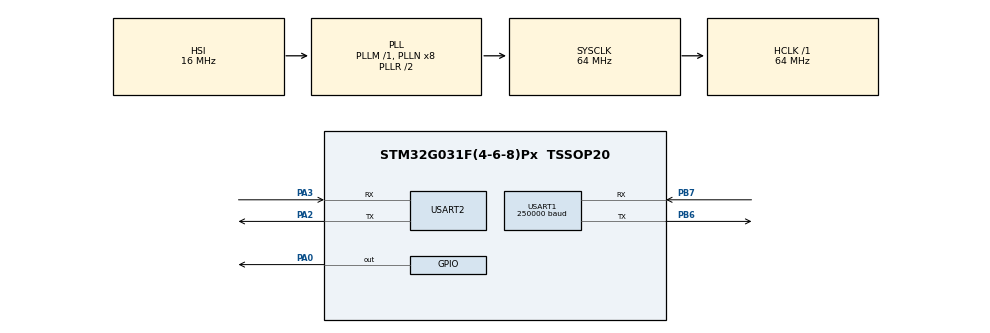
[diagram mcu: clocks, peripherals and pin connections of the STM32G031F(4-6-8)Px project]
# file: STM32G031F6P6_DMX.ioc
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Mcu.Family=STM32G0
Mcu.Name=STM32G031F(4-6-8)Px
Mcu.Package=TSSOP20
NVIC.USART1_IRQn=true\:0\:0\:false\:false\:true\:true\:true\:true
PA0.GPIO_Speed=GPIO_SPEED_FREQ_HIGH
PA0.Signal=GPIO_Output
PA13.Mode=Serial_Wire
PA13.Signal=SYS_SWDIO
PA14-BOOT0.Mode=Serial_Wire
PA14-BOOT0.Signal=SYS_SWCLK
PA14-BOOT0__PA15.StandardMode=true
PA2.Mode=Asynchronous
PA2.Signal=USART2_TX
PA3.Mode=Asynchronous
PA3.Signal=USART2_RX
PB0__PB1__PB2__PA8.StandardMode=true
PB3__PB4__PB5__PB6.StandardMode=true
PB6.GPIO_FM6=__NULL
PB6.Mode=Asynchronous
PB6.Signal=USART1_TX
PB7.GPIO_FM7=__NULL
PB7.Mode=Asynchronous
PB7.Signal=USART1_RX
PB7__PB8.StandardMode=true
PC14-OSC32_IN\ (PC14)__PB9.StandardMode=true
ProjectManager.HeapSize=0x200
ProjectManager.StackSize=0x400
ProjectManager.TargetToolchain=STM32CubeIDE
RCC.ADCFreq_Value=64000000
RCC.AHBFreq_Value=64000000
RCC.CortexFreq_Value=64000000
RCC.EXTERNAL_CLOCK_VALUE=12288000
RCC.HCLKFreq_Value=64000000
RCC.HSE_VALUE=8000000
RCC.HSI_VALUE=16000000
RCC.LSE_VALUE=32768
RCC.SYSCLKFreq_VALUE=64000000
RCC.SYSCLKSource=RCC_SYSCLKSOURCE_PLLCLK
RCC.VCOOutputFreq_Value=128000000
USART1.BaudRate=250000
USART1.Mode=MODE_RX
USART1.StopBits=STOPBITS_2
USART1.VirtualMode-Asynchronous=VM_ASYNC
USART2.VirtualMode-Asynchronous=VM_ASYNC
board=custom

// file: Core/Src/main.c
/* USER CODE BEGIN Header */
/**
  ******************************************************************************
  * @file           : main.c
  * @brief          : Main program body
  ******************************************************************************
  * @attention
  *
  * Copyright (c) 2022 STMicroelectronics.
  * All rights reserved.
  *
  * This software is licensed under terms that can be found in the LICENSE file
  * in the root directory of this software component.
  * If no LICENSE file comes with this software, it is provided AS-IS.
  *
  ******************************************************************************
  */
/* USER CODE END Header */
#include "main.h"

UART_HandleTypeDef huart1;
UART_HandleTypeDef huart2;

/* USER CODE BEGIN PV */
/* Buffer used for reception */
uint8_t DMX_Rx_buf[513]; // start from 1
uint8_t tim_update = 0;
uint8_t fDMX_buf_right = 0;
uint16_t pDMX_buf = 0;
uint32_t last_time=0;
/* USER CODE END PV */

void SystemClock_Config(void);
static void MX_GPIO_Init(void);
static void MX_USART1_UART_Init(void);
static void MX_USART2_UART_Init(void);

/* USER CODE BEGIN 0 */
#ifdef __GNUC__
  /* With GCC/RAISONANCE, small printf (option LD Linker->Libraries->Small printf
     set to 'Yes') calls __io_putchar() */
  #define PUTCHAR_PROTOTYPE int __io_putchar(int ch)
#else
  #define PUTCHAR_PROTOTYPE int fputc(int ch, FILE *f)
#endif /* __GNUC__ */
/**
  * @brief  Retargets the C library printf function to the USART.
  * @param  None
  * @retval None
  */
PUTCHAR_PROTOTYPE
{
  /* Place your implementation of fputc here */
  /* e.g. write a character to the EVAL_COM1 and Loop until the end of transmission */
  HAL_UART_Transmit(&huart2, (uint8_t *)&ch, 1, 0xFFFF);

  return ch;
}
/* USER CODE END 0 */

int main(void)
{

  /* MCU Configuration--------------------------------------------------------*/

  /* Reset of all peripherals, Initializes the Flash interface and the Systick. */
  HAL_Init();

  /* Configure the system clock */
  SystemClock_Config();

  /* Initialize all configured peripherals */
  MX_GPIO_Init();
  MX_USART1_UART_Init();
  MX_USART2_UART_Init();

  /* Infinite loop */
  /* USER CODE BEGIN WHILE */
  printf("Start\n");
  while (1)
  {
	  if(tim_update==SET){
		  printf("DMX: ");
		  for(int i=1;i<=512;i++){
			  printf("%d ",DMX_Rx_buf[i]);
		  }
		  printf("\n");
		  tim_update=RESET;
		  HAL_Delay(1000);
	  }
    /* USER CODE END WHILE */

  }
}

void SystemClock_Config(void)
{
  RCC_OscInitTypeDef RCC_OscInitStruct = {0};
  RCC_ClkInitTypeDef RCC_ClkInitStruct = {0};

  /** Configure the main internal regulator output voltage
  */
  HAL_PWREx_ControlVoltageScaling(PWR_REGULATOR_VOLTAGE_SCALE1);

  /** Initializes the RCC Oscillators according to the specified parameters
  * in the RCC_OscInitTypeDef structure.
  */
  RCC_OscInitStruct.OscillatorType = RCC_OSCILLATORTYPE_HSI;
  RCC_OscInitStruct.HSIState = RCC_HSI_ON;
  RCC_OscInitStruct.HSIDiv = RCC_HSI_DIV1;
  RCC_OscInitStruct.HSICalibrationValue = RCC_HSICALIBRATION_DEFAULT;
  RCC_OscInitStruct.PLL.PLLState = RCC_PLL_ON;
  RCC_OscInitStruct.PLL.PLLSource = RCC_PLLSOURCE_HSI;
  RCC_OscInitStruct.PLL.PLLM = RCC_PLLM_DIV1;
  RCC_OscInitStruct.PLL.PLLN = 8;
  RCC_OscInitStruct.PLL.PLLP = RCC_PLLP_DIV2;
  RCC_OscInitStruct.PLL.PLLQ = RCC_PLLQ_DIV2;
  RCC_OscInitStruct.PLL.PLLR = RCC_PLLR_DIV2;
  if (HAL_RCC_OscConfig(&RCC_OscInitStruct) != HAL_OK)
  {
    Error_Handler();
  }

  /** Initializes the CPU, AHB and APB buses clocks
  */
  RCC_ClkInitStruct.ClockType = RCC_CLOCKTYPE_HCLK|RCC_CLOCKTYPE_SYSCLK
                              |RCC_CLOCKTYPE_PCLK1;
  RCC_ClkInitStruct.SYSCLKSource = RCC_SYSCLKSOURCE_PLLCLK;
  RCC_ClkInitStruct.AHBCLKDivider = RCC_SYSCLK_DIV1;
  RCC_ClkInitStruct.APB1CLKDivider = RCC_HCLK_DIV1;

  if (HAL_RCC_ClockConfig(&RCC_ClkInitStruct, FLASH_LATENCY_2) != HAL_OK)
  {
    Error_Handler();
  }
}

static void MX_USART1_UART_Init(void)
{

  huart1.Instance = USART1;
  huart1.Init.BaudRate = 250000;
  huart1.Init.WordLength = UART_WORDLENGTH_8B;
  huart1.Init.StopBits = UART_STOPBITS_2;
  huart1.Init.Parity = UART_PARITY_NONE;
  huart1.Init.Mode = UART_MODE_RX;
  huart1.Init.HwFlowCtl = UART_HWCONTROL_NONE;
  huart1.Init.OverSampling = UART_OVERSAMPLING_16;
  huart1.Init.OneBitSampling = UART_ONE_BIT_SAMPLE_DISABLE;
  huart1.Init.ClockPrescaler = UART_PRESCALER_DIV1;
  huart1.AdvancedInit.AdvFeatureInit = UART_ADVFEATURE_NO_INIT;
  if (HAL_UART_Init(&huart1) != HAL_OK)
  {
    Error_Handler();
  }
  if (HAL_UARTEx_SetTxFifoThreshold(&huart1, UART_TXFIFO_THRESHOLD_1_8) != HAL_OK)
  {
    Error_Handler();
  }
  if (HAL_UARTEx_SetRxFifoThreshold(&huart1, UART_RXFIFO_THRESHOLD_1_8) != HAL_OK)
  {
    Error_Handler();
  }
  if (HAL_UARTEx_DisableFifoMode(&huart1) != HAL_OK)
  {
    Error_Handler();
  }
  /* USER CODE BEGIN USART1_Init 2 */

  __HAL_UART_ENABLE_IT(&huart1, UART_IT_RXNE);
  __HAL_UART_ENABLE_IT(&huart1, UART_IT_ERR); // # UART_IT_ORE  UART_IT_NE UART_IT_FE = OrverRunError NoiseError FrameError
  HAL_NVIC_SetPriority(USART1_IRQn, 0, 0);
  HAL_NVIC_EnableIRQ(USART1_IRQn);
  /* USER CODE END USART1_Init 2 */

}

static void MX_USART2_UART_Init(void)
{

  huart2.Instance = USART2;
  huart2.Init.BaudRate = 115200;
  huart2.Init.WordLength = UART_WORDLENGTH_8B;
  huart2.Init.StopBits = UART_STOPBITS_1;
  huart2.Init.Parity = UART_PARITY_NONE;
  huart2.Init.Mode = UART_MODE_TX_RX;
  huart2.Init.HwFlowCtl = UART_HWCONTROL_NONE;
  huart2.Init.OverSampling = UART_OVERSAMPLING_16;
  huart2.Init.OneBitSampling = UART_ONE_BIT_SAMPLE_DISABLE;
  huart2.Init.ClockPrescaler = UART_PRESCALER_DIV1;
  huart2.AdvancedInit.AdvFeatureInit = UART_ADVFEATURE_NO_INIT;
  if (HAL_UART_Init(&huart2) != HAL_OK)
  {
    Error_Handler();
  }

}

static void MX_GPIO_Init(void)
{
  GPIO_InitTypeDef GPIO_InitStruct = {0};

  /* GPIO Ports Clock Enable */
  __HAL_RCC_GPIOB_CLK_ENABLE();
  __HAL_RCC_GPIOA_CLK_ENABLE();

  /*Configure GPIO pin Output Level */
  HAL_GPIO_WritePin(GPIOA, GPIO_PIN_0, GPIO_PIN_RESET);

  /*Configure GPIO pin : PA0 */
  GPIO_InitStruct.Pin = GPIO_PIN_0;
  GPIO_InitStruct.Mode = GPIO_MODE_OUTPUT_PP;
  GPIO_InitStruct.Pull = GPIO_NOPULL;
  GPIO_InitStruct.Speed = GPIO_SPEED_FREQ_HIGH;
  HAL_GPIO_Init(GPIOA, &GPIO_InitStruct);

}

/* USER CODE BEGIN 4 */

void dmx_uart_handler(UART_HandleTypeDef *huart)
{
	uint32_t StatusRead = huart->Instance->ISR;
	uint32_t Data = huart->Instance->RDR;
	/* Frame Error interrupt happens after 10 bits of 0 (~40us), so it is
	 * after first 40 us of Break */
	uint32_t errorflags = (StatusRead & (uint32_t)(USART_ISR_PE | USART_ISR_FE | USART_ISR_ORE | USART_ISR_NE | USART_ISR_RTOF));
	if (errorflags != 0U)
	{
		// Error handler
	}
	if ((StatusRead & UART_FLAG_FE) == UART_FLAG_FE) { // Frame Error = DMX SPACE for BREAK
		fDMX_buf_right = 1;
		pDMX_buf = 0;
		__HAL_UART_CLEAR_FEFLAG(huart);
		return;
	}
	/* Receive Data interrupt */
	if ((StatusRead & UART_FLAG_RXNE) == UART_FLAG_RXNE) { // Rx not empty: Read DMX values
		if (1 == fDMX_buf_right )
		{
		 DMX_Rx_buf[pDMX_buf++] = Data;

		 if (pDMX_buf > 512)
		 {
			 fDMX_buf_right = 0;
			 tim_update = SET;
		 }
		}
		__HAL_UART_CLEAR_FLAG(huart, UART_FLAG_RXNE);
	}
}

/* USER CODE END 4 */

void Error_Handler(void)
{
  __disable_irq();
  while (1)
  {
  }
}
